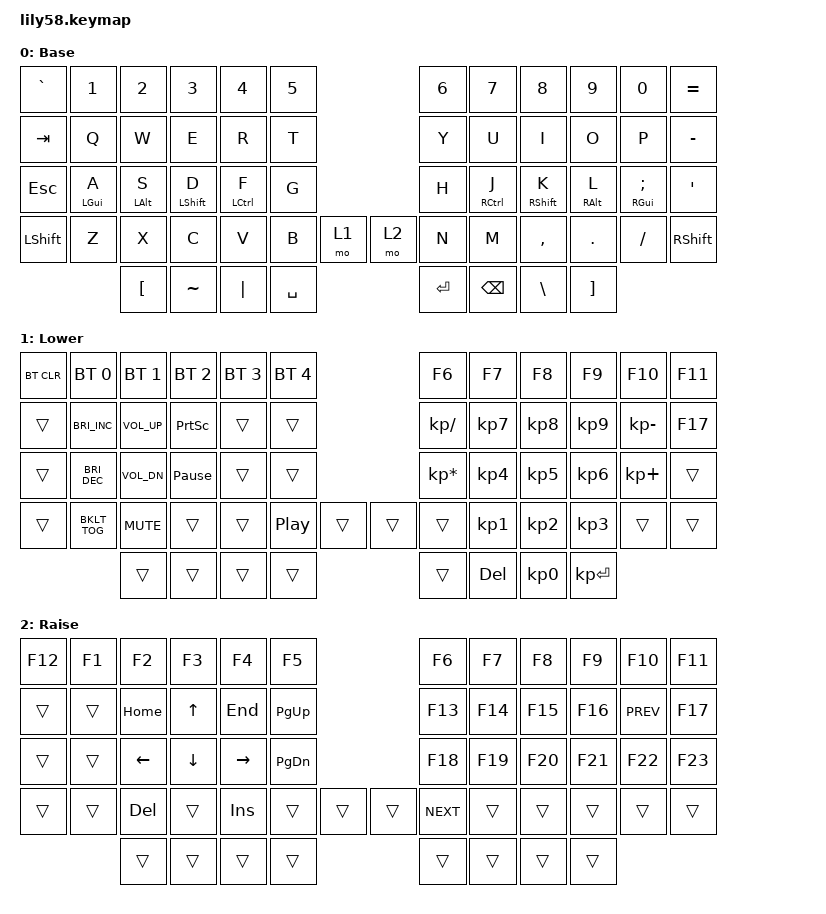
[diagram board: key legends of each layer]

/*
 * Copyright (c) 2020 The ZMK Contributors
 *
 * SPDX-License-Identifier: MIT
 * 
 * LILY 58
 */

#include <behaviors.dtsi>
#include <dt-bindings/zmk/keys.h>
#include <dt-bindings/zmk/bt.h>
#include <dt-bindings/zmk/ext_power.h>

/ {
    behaviors {
        hml: home_row_mod_left {
            compatible = "zmk,behavior-hold-tap";
            #binding-cells = <2>;
            flavor = "balanced";
            require-prior-idle-ms = <150>;
            tapping-term-ms = <280>;
            quick-tap-ms = <175>;
            bindings = <&kp>, <&kp>;
            hold-trigger-key-positions = <6 7 8 9 10 11 18 19 20 21 22 23 30 31 32 33 34 35 43 44 45 46 47 48 49>; // Right-hand keys
            hold-trigger-on-release;
        };
        hmr: home_row_mod_right {
            compatible = "zmk,behavior-hold-tap";
            #binding-cells = <2>;
            flavor = "balanced";
            require-prior-idle-ms = <150>;
            tapping-term-ms = <280>;
            quick-tap-ms = <175>;
            bindings = <&kp>, <&kp>;
            hold-trigger-key-positions = <0 1 2 3 4 5 12 13 14 15 16 17 24 25 26 27 28 29 36 37 38 39 40 41 42>; // Left-hand keys
            hold-trigger-on-release;
        };
    };

    keymap {
        compatible = "zmk,keymap";

        default_layer {
            display-name = "Base";
            bindings = <
&kp GRAVE    &kp N1       &kp N2      &kp N3       &kp N4       &kp N5                           &kp N6   &kp N7        &kp N8       &kp N9      &kp N0          &kp EQUAL
&kp TAB      &kp Q        &kp W       &kp E        &kp R        &kp T                            &kp Y    &kp U         &kp I        &kp O       &kp P           &kp MINUS
&kp ESC      &hml LGUI A  &hml LALT S &hml LSHFT D &hml LCTRL F &kp G                            &kp H    &hmr RCTRL J  &hmr RSHFT K &hmr RALT L &hmr RGUI SEMI  &kp SQT
&kp LSHFT    &kp Z        &kp X       &kp C        &kp V        &kp B        &mo 1      &mo 2    &kp N    &kp M         &kp COMMA    &kp DOT     &kp FSLH        &kp RSHFT
                          &kp LBKT    &kp TILDE     &kp PIPE     &kp SPACE                        &kp RET  &kp BSPC      &kp BSLH     &kp RBKT
            >;
        };

        lower_layer { // Layer 1
            display-name = "Lower";
            bindings = <
&bt BT_CLR &bt BT_SEL 0     &bt BT_SEL 1      &bt BT_SEL 2      &bt BT_SEL 3 &bt BT_SEL 4                 &kp F6          &kp F7    &kp F8      &kp F9     &kp F10    &kp F11
&trans     &kp C_BRI_INC    &kp C_VOL_UP      &kp PSCRN         &trans       &trans                       &kp KP_DIVIDE   &kp KP_N7 &kp KP_N8   &kp KP_N9  &kp KP_MINUS  &kp F17
&trans     &kp C_BRI_DEC    &kp C_VOL_DN      &kp PAUSE_BREAK   &trans       &trans                       &kp KP_MULTIPLY &kp KP_N4 &kp KP_N5   &kp KP_N6  &kp KP_PLUS   &trans
&trans     &kp C_BKLT_TOG   &kp C_MUTE        &trans            &trans       &kp C_PP    &trans   &trans    &trans          &kp KP_N1 &kp KP_N2   &kp KP_N3  &trans     &trans
                            &trans            &trans            &trans       &trans                       &trans          &kp DEL   &kp KP_N0   &kp KP_ENTER
            >;
        };

        raise_layer { // Layer 2
            display-name = "Raise";
            bindings = <
&kp F12   &kp F1  &kp F2   &kp F3    &kp F4     &kp F5                      &kp F6     &kp F7    &kp F8    &kp F9   &kp F10    &kp F11
&trans    &trans  &kp HOME &kp UP    &kp END    &kp PG_UP                   &kp F13    &kp F14   &kp F15   &kp F16  &kp C_PREV &kp F17
&trans    &trans  &kp LEFT &kp DOWN  &kp RIGHT  &kp PG_DN                   &kp F18    &kp F19   &kp F20   &kp F21  &kp F22    &kp F23
&trans    &trans  &kp DEL  &trans    &kp INS    &trans    &trans   &trans   &kp C_NEXT &trans    &trans    &trans   &trans     &trans
                  &trans   &trans    &trans     &trans                      &trans     &trans    &trans    &trans
            >;
        };

        extra_1 {
            status = "reserved";
        };

        extra_2 {
            status = "reserved";
        };

        extra_3 {
            status = "reserved";
        };
    };
};
